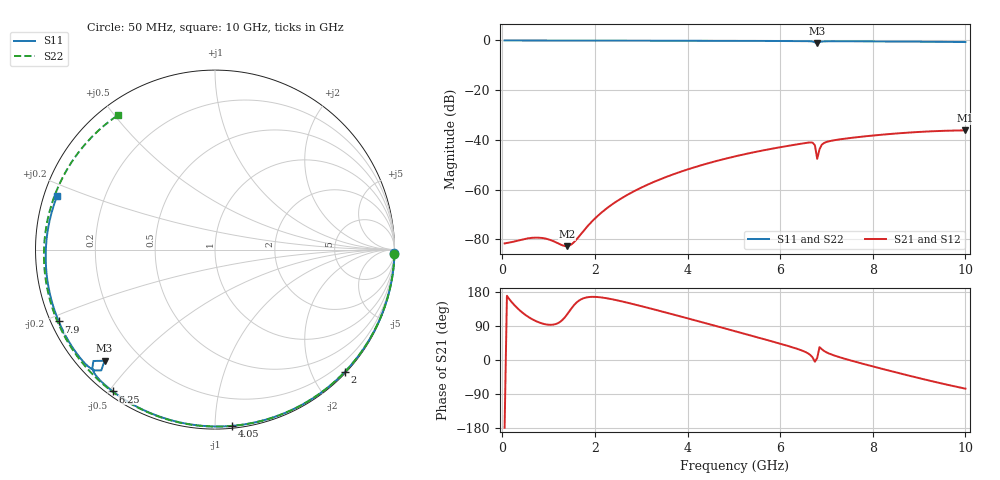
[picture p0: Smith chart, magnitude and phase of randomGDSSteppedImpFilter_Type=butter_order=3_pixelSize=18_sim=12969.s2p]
! freq	dB(S11)	phase(S11)	dB(S12)	phase(S12)
!  dB(S21)	phase(S21)	dB(S22)	phase(S22)
!S-par simulation data
#  GHz  S  DB  R 50
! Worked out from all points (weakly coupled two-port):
!   200 points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, 50 MHz to 10 GHz, reference 50 ohm
!   highest |S21| = -36.19 dB at 10 GHz (marker M1); lowest = -82.8 dB at 1.4 GHz (marker M2)
!   lowest |S11| = -1.2 dB at 6.8 GHz (marker M3), VSWR 14.73, Z = 3.98 - j20.7 ohm
!   |S11| at or under -10 dB: nowhere
!   |S22| runs from -0.7 to 0.0 dB; largest |S21 - S12| = 0
!   S11 on the Smith chart (normalised r, x): 50 MHz: open; 2 GHz: 0.02, -2.53; 4.05 GHz: 0.01, -1.10; 6.25 GHz: 0.02, -0.51; 7.9 GHz: 0.02, -0.22; 10 GHz: 0.04, +0.16
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0.05  -0.00 -1.1  -81.69 -178.8  -81.69 -178.8  -0.00 -1.2
0.7  -0.02 -15.4  -79.36 104.2  -79.36 104.2  -0.02 -17.4
1.4  -0.04 -30.5  -82.79 120.3  -82.79 120.3  -0.04 -34.4
1.6  -0.04 -34.8  -80.14 151.3  -80.14 151.3  -0.05 -39.2
1.75  -0.05 -37.9  -76.74 162.8  -76.74 162.8  -0.05 -42.8
2  -0.05 -43.2  -71.66 166.6  -71.66 166.6  -0.06 -48.7
2.3  -0.06 -49.4  -66.94 162.0  -66.94 162.0  -0.07 -55.7
2.6  -0.07 -55.6  -63.23 154.2  -63.23 154.2  -0.08 -62.6
3.4  -0.09 -71.7  -55.95 129.5  -55.95 129.5  -0.11 -80.7
4.05  -0.12 -84.4  -51.62 108.4  -51.62 108.4  -0.13 -94.9
5.05  -0.16 -103.4  -46.55 75.2  -46.55 75.2  -0.18 -116.3
6.25  -0.23 -125.7  -42.17 34.1  -42.17 34.1  -0.26 -141.7
6.7  -0.43 -135.9  -41.12 6.9  -41.12 6.9  -0.29 -151.3
6.75  -0.74 -137.5  -42.18 -4.6  -42.18 -4.6  -0.30 -152.4
6.8  -1.18 -134.8  -47.65 5.2  -47.65 5.2  -0.30 -153.5
6.85  -0.69 -133.3  -43.81 34.0  -43.81 34.0  -0.31 -154.5
6.9  -0.45 -134.8  -41.93 28.4  -41.93 28.4  -0.31 -155.6
6.95  -0.37 -136.3  -41.24 23.7  -41.24 23.7  -0.32 -156.7
7.9  -0.37 -155.3  -38.46 -13.7  -38.46 -13.7  -0.41 -178.2
8.35  -0.42 -164.0  -37.68 -28.0  -37.68 -28.0  -0.46 171.0
9.2  -0.52 178.9  -36.62 -53.7  -36.62 -53.7  -0.57 149.0
10  -0.64 161.3  -36.19 -75.6  -36.19 -75.6  -0.69 125.7
